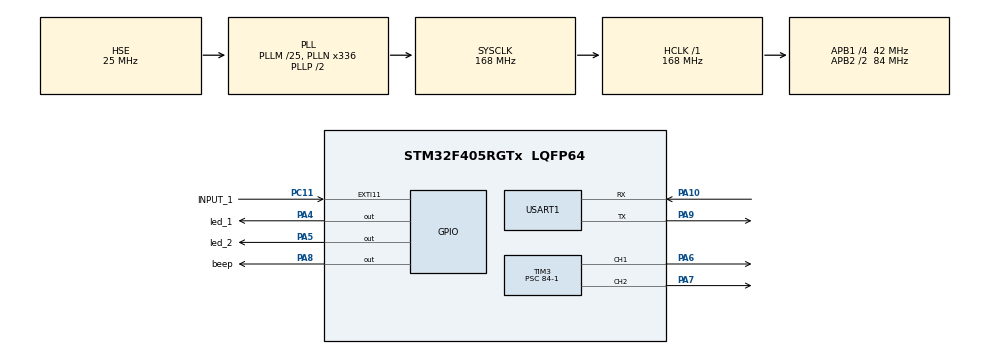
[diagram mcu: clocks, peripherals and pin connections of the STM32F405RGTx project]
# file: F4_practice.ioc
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Mcu.Family=STM32F4
Mcu.Name=STM32F405RGTx
Mcu.Package=LQFP64
NVIC.EXTI15_10_IRQn=true\:5\:0\:true\:false\:true\:true\:true\:true
NVIC.PriorityGroup=NVIC_PRIORITYGROUP_4
NVIC.TIM1_UP_TIM10_IRQn=true\:15\:0\:false\:false\:true\:false\:true\:true
NVIC.TIM2_IRQn=true\:5\:0\:true\:false\:true\:true\:true\:true
NVIC.TimeBase=TIM1_UP_TIM10_IRQn
NVIC.TimeBaseIP=TIM1
PA10.GPIO_PuPd=GPIO_PULLUP
PA10.Mode=Asynchronous
PA10.Signal=USART1_RX
PA4.GPIO_Label=led_1
PA4.GPIO_ModeDefaultOutputPP=GPIO_MODE_OUTPUT_PP
PA4.GPIO_PuPd=GPIO_PULLDOWN
PA4.GPIO_Speed=GPIO_SPEED_FREQ_LOW
PA4.Signal=GPIO_Output
PA5.GPIO_Label=led_2
PA5.GPIO_ModeDefaultOutputPP=GPIO_MODE_OUTPUT_PP
PA5.GPIO_PuPd=GPIO_PULLDOWN
PA5.GPIO_Speed=GPIO_SPEED_FREQ_LOW
PA5.PinState=GPIO_PIN_RESET
PA5.Signal=GPIO_Output
PA6.Signal=S_TIM3_CH1
PA7.Signal=S_TIM3_CH2
PA8.GPIO_Label=beep
PA8.GPIO_ModeDefaultOutputPP=GPIO_MODE_OUTPUT_PP
PA8.GPIO_PuPd=GPIO_PULLDOWN
PA8.GPIO_Speed=GPIO_SPEED_FREQ_LOW
PA8.PinState=GPIO_PIN_RESET
PA8.Signal=GPIO_Output
PA9.Mode=Asynchronous
PA9.Signal=USART1_TX
PC11.GPIO_Label=INPUT_1
PC11.GPIO_ModeDefaultEXTI=GPIO_MODE_IT_RISING
PC11.GPIO_PuPd=GPIO_PULLDOWN
PC11.Signal=GPXTI11
PH0-OSC_IN.Mode=HSE-External-Oscillator
PH0-OSC_IN.Signal=RCC_OSC_IN
PH1-OSC_OUT.Mode=HSE-External-Oscillator
PH1-OSC_OUT.Signal=RCC_OSC_OUT
ProjectManager.HeapSize=0x800
ProjectManager.StackSize=0x400
ProjectManager.TargetToolchain=MDK-ARM V5.32
RCC.48MHZClocksFreq_Value=84000000
RCC.AHBFreq_Value=168000000
RCC.APB1CLKDivider=RCC_HCLK_DIV4
RCC.APB1Freq_Value=42000000
RCC.APB1TimFreq_Value=84000000
RCC.APB2CLKDivider=RCC_HCLK_DIV2
RCC.APB2Freq_Value=84000000
RCC.APB2TimFreq_Value=168000000
RCC.CortexFreq_Value=168000000
RCC.HCLKFreq_Value=168000000
RCC.HSE_VALUE=25000000
RCC.HSI_VALUE=16000000
RCC.LSE_VALUE=32768
RCC.PLLM=25
RCC.PLLN=336
RCC.PLLSourceVirtual=RCC_PLLSOURCE_HSE
RCC.SYSCLKFreq_VALUE=168000000
RCC.SYSCLKSource=RCC_SYSCLKSOURCE_PLLCLK
RCC.VCOOutputFreq_Value=336000000
SH.S_TIM3_CH1.0=TIM3_CH1,PWM Generation1 CH1
SH.S_TIM3_CH2.0=TIM3_CH2,PWM Generation2 CH2
TIM2.Period=2000-1
TIM2.Prescaler=84-1
TIM3.AutoReloadPreload=TIM_AUTORELOAD_PRELOAD_ENABLE
TIM3.Channel-PWM\ Generation1\ CH1=TIM_CHANNEL_1
TIM3.Channel-PWM\ Generation2\ CH2=TIM_CHANNEL_2
TIM3.OCFastMode_PWM-PWM\ Generation1\ CH1=TIM_OCFAST_DISABLE
TIM3.OCFastMode_PWM-PWM\ Generation2\ CH2=TIM_OCFAST_DISABLE
TIM3.Period=1000-1
TIM3.Prescaler=84-1
USART1.VirtualMode=VM_ASYNC
VP_SYS_VS_tim1.Mode=TIM1
VP_TIM2_VS_ClockSourceINT.Mode=Internal
VP_TIM3_VS_ClockSourceINT.Mode=Internal
board=custom

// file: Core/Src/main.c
/* USER CODE BEGIN Header */
/**
  ******************************************************************************
  * @file           : main.c
  * @brief          : Main program body
  ******************************************************************************
  * @attention
  *
  * Copyright (c) 2026 STMicroelectronics.
  * All rights reserved.
  *
  * This software is licensed under terms that can be found in the LICENSE file
  * in the root directory of this software component.
  * If no LICENSE file comes with this software, it is provided AS-IS.
  *
  ******************************************************************************
  */
/* USER CODE END Header */
#include "main.h"
#include "tim.h"
#include "usart.h"
#include "gpio.h"

/* USER CODE BEGIN Includes */
#include "led.h"
#include "beep.h"
#include "EXTI_IRQHandler.h"
#include "TIM_IRQHandler.h"
#include "UART_IRQHandler.h"
#include "vofa_justfloat.h"
#include <math.h>

/* USER CODE END Includes */

/* USER CODE BEGIN PTD */

/* 灯光状态机当前状态（初始为 OFF：四灯全灭） */
static Led_State_t g_led_state = LED_STATE_OFF;

/* USER CODE END PTD */

void SystemClock_Config(void);

int main(void)
{

  /* MCU Configuration--------------------------------------------------------*/

  /* Reset of all peripherals, Initializes the Flash interface and the Systick. */
  HAL_Init();

  /* Configure the system clock */
  SystemClock_Config();

  /* Initialize all configured peripherals */
  MX_GPIO_Init();
  MX_TIM2_Init();
  MX_TIM3_Init();
  MX_USART1_UART_Init();
  /* USER CODE BEGIN 2 */
  Beep_Init();        /* 开机提示音                                          */
  LED_Init();         /* 初始化 LED 并启动 TIM3 呼吸 PWM，初始四灯全灭       */
  UART_Start_Receive ();
  /* USER CODE END 2 */

  /* Infinite loop */
  /* USER CODE BEGIN WHILE */
  while (1)
  {

    /* 处理 DMA + 空闲中断收到的消息：解析帧 → 累加 Beep_Trigger */
    UART_ParseFrames();

    if (Beep_Trigger !=0)
    {
        Beep_Alarm(Beep_Trigger);
        Beep_Trigger=0;
    }

    /* VOFA+ JustFloat 打波演示：
     * 用 memcpy 把两个 float(正弦/余弦) 拼成 JustFloat 帧发给上位机。
     * 把 a/b 替换为你自己的真实数据即可（如编码器角度、速度、IMU 等）。 */
    {
        static float phase = 0.0f;
        float a = sinf(phase);          /* 通道1：正弦波              */
        float b = cosf(phase * 2.0f);   /* 通道2：余弦波，频率为2倍   */
        JustFloat_Send2(a, b);          /* 发送一帧(两个通道)         */
        phase += 0.08f;                 /* 相位步进，控制波形快慢     */
        if (phase > 6.2832f)
        {
            phase -= 6.2832f;           /* 2π 周期回绕                */
        }
        HAL_Delay(20);                  /* 约 50Hz 采样率发帧给上位机 */
    }

    /* USER CODE END WHILE */

  }
}

void SystemClock_Config(void)
{
  RCC_OscInitTypeDef RCC_OscInitStruct = {0};
  RCC_ClkInitTypeDef RCC_ClkInitStruct = {0};

  /** Configure the main internal regulator output voltage
  */
  __HAL_RCC_PWR_CLK_ENABLE();
  __HAL_PWR_VOLTAGESCALING_CONFIG(PWR_REGULATOR_VOLTAGE_SCALE1);

  /** Initializes the RCC Oscillators according to the specified parameters
  * in the RCC_OscInitTypeDef structure.
  */
  RCC_OscInitStruct.OscillatorType = RCC_OSCILLATORTYPE_HSE;
  RCC_OscInitStruct.HSEState = RCC_HSE_ON;
  RCC_OscInitStruct.PLL.PLLState = RCC_PLL_ON;
  RCC_OscInitStruct.PLL.PLLSource = RCC_PLLSOURCE_HSE;
  RCC_OscInitStruct.PLL.PLLM = 25;
  RCC_OscInitStruct.PLL.PLLN = 336;
  RCC_OscInitStruct.PLL.PLLP = RCC_PLLP_DIV2;
  RCC_OscInitStruct.PLL.PLLQ = 4;
  if (HAL_RCC_OscConfig(&RCC_OscInitStruct) != HAL_OK)
  {
    Error_Handler();
  }

  /** Initializes the CPU, AHB and APB buses clocks
  */
  RCC_ClkInitStruct.ClockType = RCC_CLOCKTYPE_HCLK|RCC_CLOCKTYPE_SYSCLK
                              |RCC_CLOCKTYPE_PCLK1|RCC_CLOCKTYPE_PCLK2;
  RCC_ClkInitStruct.SYSCLKSource = RCC_SYSCLKSOURCE_PLLCLK;
  RCC_ClkInitStruct.AHBCLKDivider = RCC_SYSCLK_DIV1;
  RCC_ClkInitStruct.APB1CLKDivider = RCC_HCLK_DIV4;
  RCC_ClkInitStruct.APB2CLKDivider = RCC_HCLK_DIV2;

  if (HAL_RCC_ClockConfig(&RCC_ClkInitStruct, FLASH_LATENCY_5) != HAL_OK)
  {
    Error_Handler();
  }
}

void HAL_TIM_PeriodElapsedCallback(TIM_HandleTypeDef *htim)
{
  if (htim->Instance == TIM1)
  {
    HAL_IncTick();
  }
  /* USER CODE BEGIN Callback 1 */
  TIM_PeriodElapsedCallback(htim);
  /* USER CODE END Callback 1 */
}

void Error_Handler(void)
{
  __disable_irq();
  while (1)
  {
  }
}
